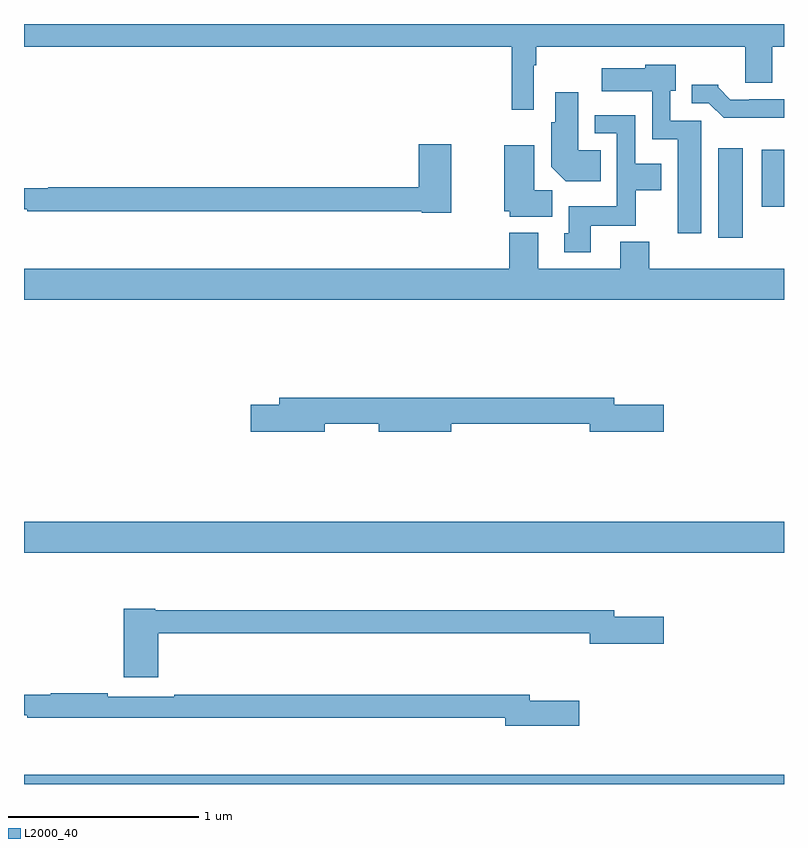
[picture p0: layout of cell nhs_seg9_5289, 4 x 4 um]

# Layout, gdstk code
import gdstk
lib = gdstk.Library(unit=1e-6, precision=1e-09)
def R(c, l, rs):  # rectangles x0, y0, x1, y1
    for r in rs: c.add(gdstk.rectangle(r[:2], r[2:], *l))
def P(c, l, *ps):  # polygons
    for p in ps: c.add(gdstk.Polygon(p, *l))
L2000_40 = (2000, 40)

nhs_seg9_5289 = lib.new_cell('nhs_seg9_5289')
R(nhs_seg9_5289, L2000_40, [(417,1232.5,421,1232.548), (417,1233.716,421,1233.88), (420.653,1235.376,420.784,1235.845), (420.884,1235.538,421,1235.839)])
P(nhs_seg9_5289, L2000_40, [(419.682,1236.284),(419.695,1236.284),(419.695,1236.38),(420.797,1236.38),(420.797,1236.19),(420.937,1236.19),(420.937,1236.38),(421,1236.38),(421,1236.5),(417,1236.5),(417,1236.38),(419.566,1236.38),(419.566,1236.048),(419.682,1236.048)],
  [(420.565,1235.991),(420.402,1235.991),(420.402,1236.15),(420.43,1236.15),(420.43,1236.286),(420.27,1236.286),(420.27,1236.268),(420.042,1236.268),(420.042,1236.146),(420.306,1236.146),(420.306,1235.894),(420.44,1235.894),(420.44,1235.4),(420.565,1235.4)],
  [(421,1236.105),(420.817,1236.105),(420.817,1236.102),(420.718,1236.102),(420.654,1236.166),(420.654,1236.181),(420.515,1236.181),(420.515,1236.084),(420.603,1236.084),(420.682,1236.006),(421,1236.006)],
  [(420.035,1235.836),(419.917,1235.836),(419.917,1236.142),(419.795,1236.142),(419.795,1235.982),(419.774,1235.982),(419.774,1235.75),(419.852,1235.672),(420.035,1235.672)],
  [(419.983,1235.438),(420.219,1235.438),(420.219,1235.624),(420.355,1235.624),(420.355,1235.764),(420.216,1235.764),(420.216,1236.021),(420.003,1236.021),(420.003,1235.925),(420.12,1235.925),(420.12,1235.542),(419.867,1235.542),(419.867,1235.4),(419.843,1235.4),(419.843,1235.298),(419.983,1235.298)],
  [(419.248,1235.866),(419.078,1235.866),(419.078,1235.642),(417.128,1235.642),(417.128,1235.635),(417,1235.635),(417,1235.526),(417.016,1235.526),(417.016,1235.514),(419.094,1235.514),(419.094,1235.506),(419.248,1235.506)],
  [(419.779,1235.624),(419.686,1235.624),(419.686,1235.863),(419.528,1235.863),(419.528,1235.514),(419.556,1235.514),(419.556,1235.486),(419.779,1235.486)],
  [(421,1235.212),(420.29,1235.212),(420.29,1235.353),(420.137,1235.353),(420.137,1235.212),(419.707,1235.212),(419.707,1235.401),(419.555,1235.401),(419.555,1235.212),(417,1235.212),(417,1235.048),(421,1235.048)],
  [(418.582,1234.396),(418.868,1234.396),(418.868,1234.354),(419.248,1234.354),(419.248,1234.396),(419.978,1234.396),(419.978,1234.354),(420.367,1234.354),(420.367,1234.496),(420.106,1234.496),(420.106,1234.532),(418.343,1234.532),(418.343,1234.496),(418.194,1234.496),(418.194,1234.354),(418.582,1234.354)],
  [(417.707,1233.294),(419.978,1233.294),(419.978,1233.239),(420.367,1233.239),(420.367,1233.381),(420.106,1233.381),(420.106,1233.415),(417.69,1233.415),(417.69,1233.423),(417.524,1233.423),(417.524,1233.063),(417.707,1233.063)],
  [(419.923,1232.937),(419.662,1232.937),(419.662,1232.971),(417.79,1232.971),(417.79,1232.958),(417.44,1232.958),(417.44,1232.978),(417.14,1232.978),(417.14,1232.971),(417,1232.971),(417,1232.862),(417.016,1232.862),(417.016,1232.85),(419.534,1232.85),(419.534,1232.807),(419.923,1232.807)])

lib.write_gds('nhs_seg9_5289.gds')
